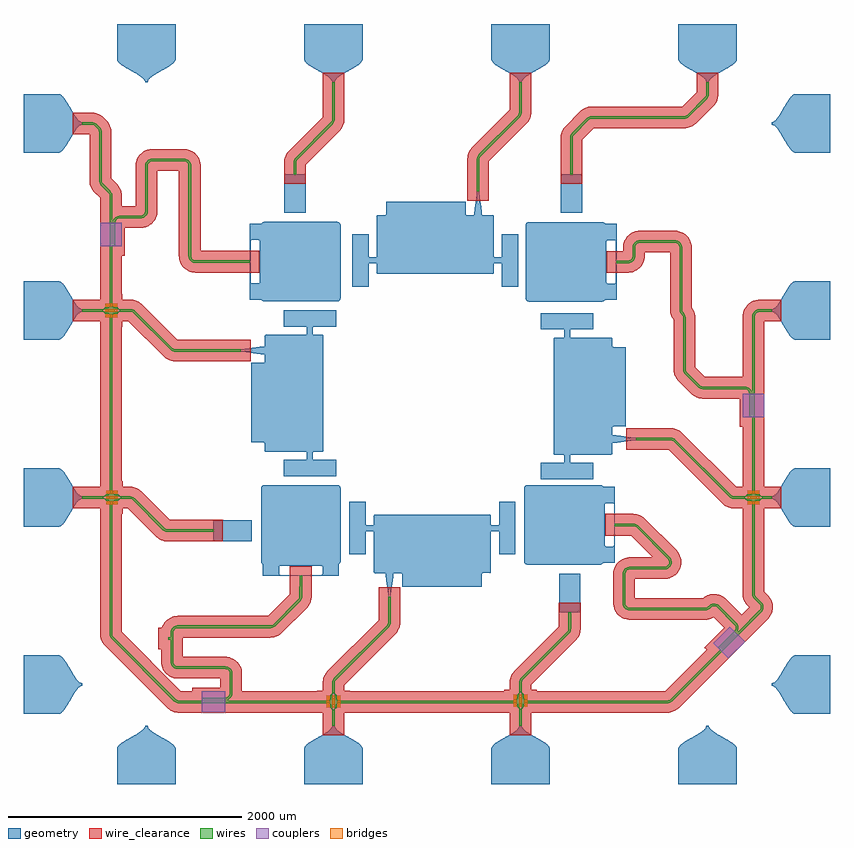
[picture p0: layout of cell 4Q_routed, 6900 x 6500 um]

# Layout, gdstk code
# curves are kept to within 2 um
import gdstk
lib = gdstk.Library(unit=1e-6, precision=1e-09)
def R(c, l, rs):  # rectangles x0, y0, x1, y1
    for r in rs: c.add(gdstk.rectangle(r[:2], r[2:], *l))
def A(c, l, x, y, w, h, nx, ny, dx, dy):  # array of equal rectangles
    R(c, l, [(x+i*dx, y+j*dy, x+i*dx+w, y+j*dy+h) for i in range(nx) for j in range(ny)])
def P(c, l, *ps):  # polygons
    for p in ps: c.add(gdstk.Polygon(p, *l))
geometry = (1, 0)
wires = (2, 0)
couplers = (3, 0)
bridges = (4, 0)
wire_clearance = (5, 0)

c_4q_routed = lib.new_cell('4Q_routed')
R(c_4q_routed, geometry, [(4981.21,-209.86,5163.21,120.14), (2022.21,399.14,2352.21,581.14), (4995.28,3209.22,5177.28,3539.22), (2631.21,3210.14,2813.21,3540.14)])
P(c_4q_routed, geometry, [(2460.736,2450.14),(2442.039,2457.885),(2435.058,2467.298),(2432.211,2478.656),(2432.211,2466.14),(2336.21,2466.14),(2336.21,2785.14),(2342.21,2785.14),(2343.159,2609.859),(2351.719,2604.14),(2412.701,2604.14),(2418.934,2606.722),(2422.21,2613.649),(2422.114,2967.609),(2418.934,2973.558),(2412.701,2976.14),(2351.719,2976.14),(2343.159,2970.421),(2342.21,2795.14),(2336.21,2795.14),(2336.21,3114.14),(2432.211,3114.14),(2432.211,3101.624),(2435.058,3112.982),(2442.039,3122.395),(2460.736,3130.14),(3083.684,3130.14),(3102.381,3122.395),(3109.362,3112.982),(3112.21,3101.614),(3112.21,2478.666),(3104.465,2459.969),(3095.052,2452.988),(3083.684,2450.14)],
  [(2448.21,104.14),(2448.21,200.141),(2460.726,200.141),(2449.368,202.988),(2439.955,209.969),(2432.21,228.666),(2432.21,851.614),(2439.955,870.311),(2449.368,877.292),(2460.736,880.14),(3083.684,880.14),(3102.381,872.395),(3109.362,862.982),(3112.21,851.614),(3112.21,228.666),(3104.465,209.969),(3095.052,202.988),(3083.694,200.141),(3096.21,200.141),(3096.21,104.14),(2777.21,104.14),(2777.21,110.14),(2952.491,111.089),(2958.21,119.649),(2958.21,180.631),(2955.628,186.864),(2948.701,190.14),(2594.741,190.044),(2588.792,186.864),(2586.21,180.631),(2586.21,119.649),(2591.929,111.089),(2767.21,110.14),(2767.21,104.14)],
  [(2624.73,954.39),(2624.73,1094.39),(2824.73,1094.39),(2824.73,1164.39),(2473.261,1164.486),(2464.826,1172.921),(2464.73,1234.881),(2459.877,1242.978),(2348.73,1244.39),(2348.73,1924.39),(2460.694,1926.348),(2464.73,1933.899),(2464.73,2006.39),(2460.73,2006.39),(2460.73,1999.39),(2434.923,2000.349),(2305.891,2017.662),(2260.73,2020.39),(2260.73,2026.39),(2434.73,2029.252),(2434.73,2033.528),(2260.73,2036.39),(2260.73,2042.39),(2305.891,2045.118),(2434.923,2062.431),(2460.73,2063.39),(2460.73,2056.39),(2464.73,2056.39),(2464.73,2154.881),(2472.297,2164.102),(2824.73,2164.39),(2824.73,2234.39),(2624.73,2234.39),(2624.73,2374.39),(3074.73,2374.39),(3074.73,2234.39),(2874.73,2234.39),(2874.73,2164.39),(2956.199,2164.294),(2962.148,2161.114),(2964.73,2154.881),(2964.73,1173.899),(2962.148,1167.666),(2956.199,1164.486),(2874.73,1164.39),(2874.73,1094.39),(3074.73,1094.39),(3074.73,954.39)],
  [(4710.736,200.14),(4692.039,207.885),(4685.058,217.298),(4682.21,228.666),(4682.21,851.614),(4685.058,862.982),(4692.039,872.395),(4710.736,880.14),(5333.684,880.14),(5352.381,872.395),(5359.362,862.982),(5362.209,851.624),(5362.209,864.14),(5458.21,864.14),(5458.21,545.14),(5452.21,545.14),(5451.261,720.421),(5442.701,726.14),(5381.719,726.14),(5375.486,723.558),(5372.21,716.631),(5372.306,362.671),(5375.486,356.722),(5381.719,354.14),(5442.701,354.14),(5451.261,359.859),(5452.21,535.14),(5458.21,535.14),(5458.21,216.14),(5362.209,216.14),(5362.209,228.656),(5359.362,217.298),(5352.381,207.885),(5333.684,200.14)],
  [(3211.53,2577.07),(3211.53,3027.07),(3351.53,3027.07),(3351.53,2827.07),(3421.53,2827.07),(3421.626,3178.539),(3430.061,3186.974),(3492.021,3187.07),(3500.118,3191.923),(3501.53,3303.07),(4181.53,3303.07),(4183.488,3191.106),(4191.039,3187.07),(4263.53,3187.07),(4263.53,3191.07),(4256.53,3191.07),(4257.489,3216.877),(4274.802,3345.909),(4277.53,3391.07),(4283.53,3391.07),(4286.392,3217.07),(4290.668,3217.07),(4293.53,3391.07),(4299.53,3391.07),(4302.258,3345.909),(4319.571,3216.877),(4320.53,3191.07),(4313.53,3191.07),(4313.53,3187.07),(4412.021,3187.07),(4421.242,3179.503),(4421.53,2827.07),(4491.53,2827.07),(4491.53,3027.07),(4631.53,3027.07),(4631.53,2577.07),(4491.53,2577.07),(4491.53,2777.07),(4421.53,2777.07),(4421.434,2695.601),(4418.254,2689.652),(4412.021,2687.07),(3431.039,2687.07),(3424.806,2689.652),(3421.626,2695.601),(3421.53,2777.07),(3351.53,2777.07),(3351.53,2577.07)],
  [(4825.24,930.7),(4825.24,1070.7),(5025.24,1070.7),(5025.24,1140.7),(4943.771,1140.796),(4937.822,1143.976),(4935.24,1150.209),(4935.24,2131.191),(4937.822,2137.424),(4943.771,2140.604),(5025.24,2140.7),(5025.24,2210.7),(4825.24,2210.7),(4825.24,2350.7),(5275.24,2350.7),(5275.24,2210.7),(5075.24,2210.7),(5075.24,2140.7),(5426.709,2140.604),(5435.144,2132.169),(5435.24,2070.209),(5440.093,2062.112),(5551.24,2060.7),(5551.24,1380.7),(5439.276,1378.742),(5435.24,1371.191),(5435.24,1298.7),(5439.24,1298.7),(5439.24,1305.7),(5465.047,1304.741),(5594.079,1287.428),(5639.24,1284.7),(5639.24,1278.7),(5465.24,1275.838),(5465.24,1271.562),(5639.24,1268.7),(5639.24,1262.7),(5594.079,1259.972),(5465.047,1242.659),(5439.24,1241.7),(5439.24,1248.7),(5435.24,1248.7),(5435.24,1150.209),(5427.673,1140.988),(5075.24,1140.7),(5075.24,1070.7),(5275.24,1070.7),(5275.24,930.7)],
  [(3519.83,-77.02),(3517.102,-31.859),(3499.789,97.173),(3498.83,122.98),(3505.83,122.98),(3505.83,126.98),(3407.339,126.98),(3398.118,134.547),(3397.83,486.98),(3327.83,486.98),(3327.83,286.98),(3187.83,286.98),(3187.83,736.98),(3327.83,736.98),(3327.83,536.98),(3397.83,536.98),(3397.926,618.449),(3401.106,624.398),(3407.339,626.98),(4388.321,626.98),(4394.554,624.398),(4397.734,618.449),(4397.83,536.98),(4467.83,536.98),(4467.83,736.98),(4607.83,736.98),(4607.83,286.98),(4467.83,286.98),(4467.83,486.98),(4397.83,486.98),(4397.734,135.511),(4389.299,127.076),(4327.339,126.98),(4319.242,122.127),(4317.83,10.98),(3637.83,10.98),(3635.872,122.944),(3628.321,126.98),(3555.83,126.98),(3555.83,122.98),(3562.83,122.98),(3561.871,97.173),(3544.558,-31.859),(3541.83,-77.02),(3535.83,-77.02),(3532.968,96.98),(3528.692,96.98),(3525.83,-77.02)],
  [(1440.54,4323.29),(1434.258,4342.645),(1409.485,4368.451),(1371.618,4394.258),(1250.277,4465.225),(1218.187,4491.032),(1204.396,4510.387),(1201.54,4523.29),(1201.54,4823.29),(1701.54,4823.29),(1701.54,4523.29),(1698.684,4510.387),(1684.893,4491.032),(1652.803,4465.225),(1531.462,4394.258),(1493.595,4368.451),(1468.822,4342.645),(1462.54,4323.29)],
  [(1201.54,-1676.71),(1201.54,-1376.71),(1204.396,-1363.807),(1218.187,-1344.452),(1250.277,-1318.645),(1371.618,-1247.678),(1409.485,-1221.871),(1434.258,-1196.065),(1440.54,-1176.71),(1462.54,-1176.71),(1468.822,-1196.065),(1493.595,-1221.871),(1531.462,-1247.678),(1652.803,-1318.645),(1678.146,-1338),(1695.258,-1357.355),(1701.54,-1376.71),(1701.54,-1676.71)],
  [(3040.54,4323.29),(3034.258,4342.645),(3009.485,4368.451),(2971.618,4394.258),(2850.277,4465.225),(2818.187,4491.032),(2804.396,4510.387),(2801.54,4523.29),(2801.54,4823.29),(3301.54,4823.29),(3301.54,4523.29),(3298.684,4510.387),(3284.893,4491.032),(3252.803,4465.225),(3131.462,4394.258),(3093.595,4368.451),(3068.822,4342.645),(3062.54,4323.29)],
  [(2801.54,-1676.71),(2801.54,-1376.71),(2804.396,-1363.807),(2818.187,-1344.452),(2850.277,-1318.645),(2971.618,-1247.678),(3009.485,-1221.871),(3034.258,-1196.065),(3040.54,-1176.71),(3062.54,-1176.71),(3068.822,-1196.065),(3093.595,-1221.871),(3131.462,-1247.678),(3252.803,-1318.645),(3278.146,-1338),(3295.258,-1357.355),(3301.54,-1376.71),(3301.54,-1676.71)],
  [(4640.54,4323.29),(4634.258,4342.645),(4609.485,4368.451),(4571.618,4394.258),(4450.277,4465.225),(4418.187,4491.032),(4404.396,4510.387),(4401.54,4523.29),(4401.54,4823.29),(4901.54,4823.29),(4901.54,4523.29),(4898.684,4510.387),(4884.893,4491.032),(4852.803,4465.225),(4731.462,4394.258),(4693.595,4368.451),(4668.822,4342.645),(4662.54,4323.29)],
  [(4401.54,-1676.71),(4401.54,-1376.71),(4404.396,-1363.807),(4418.187,-1344.452),(4450.277,-1318.645),(4571.618,-1247.678),(4609.485,-1221.871),(4634.258,-1196.065),(4640.54,-1176.71),(4662.54,-1176.71),(4668.822,-1196.065),(4693.595,-1221.871),(4731.462,-1247.678),(4852.803,-1318.645),(4878.146,-1338),(4895.258,-1357.355),(4901.54,-1376.71),(4901.54,-1676.71)],
  [(6240.54,4323.29),(6234.258,4342.645),(6209.485,4368.451),(6171.618,4394.258),(6050.277,4465.225),(6018.187,4491.032),(6004.396,4510.387),(6001.54,4523.29),(6001.54,4823.29),(6501.54,4823.29),(6501.54,4523.29),(6498.684,4510.387),(6484.893,4491.032),(6452.803,4465.225),(6331.462,4394.258),(6293.595,4368.451),(6268.822,4342.645),(6262.54,4323.29)],
  [(6001.54,-1676.71),(6001.54,-1376.71),(6004.396,-1363.807),(6018.187,-1344.452),(6050.277,-1318.645),(6171.618,-1247.678),(6209.485,-1221.871),(6234.258,-1196.065),(6240.54,-1176.71),(6262.54,-1176.71),(6268.822,-1196.065),(6293.595,-1221.871),(6331.462,-1247.678),(6452.803,-1318.645),(6478.146,-1338),(6495.258,-1357.355),(6501.54,-1376.71),(6501.54,-1676.71)],
  [(401.54,3723.29),(401.54,4223.29),(701.54,4223.29),(720.895,4217.008),(740.25,4199.896),(759.605,4174.553),(830.572,4053.212),(856.379,4015.345),(882.185,3990.572),(901.54,3984.29),(901.54,3962.29),(882.185,3956.008),(856.379,3931.235),(830.572,3893.368),(759.605,3772.027),(733.798,3739.937),(714.443,3726.146),(701.54,3723.29)],
  [(7001.54,3723.29),(6982.185,3729.572),(6956.379,3754.345),(6930.572,3792.212),(6853.153,3922.755),(6827.346,3951.379),(6814.443,3959.434),(6801.54,3962.29),(6801.54,3984.29),(6820.895,3990.572),(6846.701,4015.345),(6872.508,4053.212),(6943.475,4174.553),(6969.282,4206.643),(6988.637,4220.434),(7001.54,4223.29),(7301.54,4223.29),(7301.54,3723.29)],
  [(401.54,2123.29),(401.54,2623.29),(701.54,2623.29),(720.895,2617.008),(740.25,2599.896),(759.605,2574.553),(830.572,2453.212),(856.379,2415.345),(882.185,2390.572),(901.54,2384.29),(901.54,2362.29),(882.185,2356.008),(856.379,2331.235),(830.572,2293.368),(759.605,2172.027),(733.798,2139.937),(714.443,2126.146),(701.54,2123.29)],
  [(7001.54,2123.29),(6982.185,2129.572),(6956.379,2154.345),(6930.572,2192.212),(6853.153,2322.755),(6827.346,2351.379),(6814.443,2359.434),(6801.54,2362.29),(6801.54,2384.29),(6820.895,2390.572),(6846.701,2415.345),(6872.508,2453.212),(6943.475,2574.553),(6969.282,2606.643),(6988.637,2620.434),(7001.54,2623.29),(7301.54,2623.29),(7301.54,2123.29)],
  [(401.54,523.29),(401.54,1023.29),(701.54,1023.29),(720.895,1017.008),(740.25,999.896),(759.605,974.553),(830.572,853.212),(856.379,815.345),(882.185,790.572),(901.54,784.29),(901.54,762.29),(882.185,756.008),(856.379,731.235),(830.572,693.368),(759.605,572.027),(733.798,539.937),(714.443,526.146),(701.54,523.29)],
  [(7001.54,523.29),(6982.185,529.572),(6956.379,554.345),(6930.572,592.212),(6853.153,722.755),(6827.346,751.379),(6814.443,759.434),(6801.54,762.29),(6801.54,784.29),(6820.895,790.572),(6846.701,815.345),(6872.508,853.212),(6943.475,974.553),(6969.282,1006.643),(6988.637,1020.434),(7001.54,1023.29),(7301.54,1023.29),(7301.54,523.29)],
  [(401.54,-1076.71),(401.54,-576.71),(701.54,-576.71),(720.895,-582.992),(740.25,-600.104),(759.605,-625.447),(830.572,-746.788),(856.379,-784.655),(882.185,-809.428),(901.54,-815.71),(901.54,-837.71),(882.185,-843.992),(856.379,-868.765),(830.572,-906.632),(759.605,-1027.973),(733.798,-1060.063),(714.443,-1073.854),(701.54,-1076.71)],
  [(7001.54,-1076.71),(6982.185,-1070.428),(6956.379,-1045.655),(6930.572,-1007.788),(6853.153,-877.245),(6827.346,-848.621),(6814.443,-840.566),(6801.54,-837.71),(6801.54,-815.71),(6820.895,-809.428),(6846.701,-784.655),(6872.508,-746.788),(6943.475,-625.447),(6969.282,-593.357),(6988.637,-579.566),(7001.54,-576.71),(7301.54,-576.71),(7301.54,-1076.71)],
  [(4724.806,2449.22),(4706.109,2456.965),(4699.128,2466.378),(4696.28,2477.746),(4696.28,3100.694),(4699.128,3112.062),(4706.109,3121.475),(4724.806,3129.22),(5347.754,3129.22),(5366.451,3121.475),(5373.432,3112.062),(5376.279,3100.704),(5376.279,3113.22),(5472.28,3113.22),(5472.28,2794.22),(5466.28,2794.22),(5465.331,2969.501),(5456.771,2975.22),(5395.789,2975.22),(5389.556,2972.638),(5386.28,2965.711),(5386.376,2611.751),(5389.556,2605.802),(5395.789,2603.22),(5456.771,2603.22),(5465.331,2608.939),(5466.28,2784.22),(5472.28,2784.22),(5472.28,2465.22),(5376.279,2465.22),(5376.279,2477.736),(5373.432,2466.378),(5366.451,2456.965),(5347.754,2449.22)])
P(c_4q_routed, wires, [(3040.54,-1176.71),(3040.54,-1041.307),(3025.187,-1023.017),(3025.157,-998.373),(3039.54,-998.373),(3039.626,-1023.672),(3047.852,-1044.225),(3055.228,-1044.225),(3063.053,-1025.593),(3063.54,-998.373),(3025.157,-998.373),(3025.14,-984.922),(1726.938,-984.882),(1710.601,-982.036),(1687.58,-968.573),(1154.292,-435.294),(1142.91,-418.001),(1137.963,-397.839),(1137.816,746.89),(1104.914,747.075),(1087.273,762.29),(901.54,762.29),(901.54,784.29),(1130.207,785.29),(1105.561,785.268),(1084.355,776.978),(1084.355,769.602),(1103.624,761.61),(1130.207,761.29),(1130.207,785.29),(1186.207,785.29),(1186.207,761.29),(1213.427,761.777),(1232.059,769.602),(1232.059,776.978),(1212.14,785.106),(1088.632,785.29),(1103.627,798.988),(1137.816,799.69),(1137.816,2346.89),(1097.282,2347.294),(1080.282,2362.29),(901.54,2362.29),(901.54,2384.29),(1123.216,2385.29),(1098.57,2385.268),(1077.364,2376.978),(1077.364,2369.602),(1096.633,2361.61),(1123.216,2361.29),(1123.216,2385.29),(1179.216,2385.29),(1179.216,2361.29),(1206.436,2361.777),(1225.068,2369.602),(1225.068,2376.978),(1205.149,2385.106),(1082.143,2385.29),(1097.282,2399.286),(1137.816,2399.69),(1137.611,3357.607),(1132.816,3372.724),(1126.376,3381.216),(1061.714,3446.074),(1047.918,3473.852),(1046.562,3901.551),(1042.277,3916.845),(1008.871,3952.701),(995.057,3960.46),(901.54,3962.29),(901.54,3984.29),(987.318,3984.156),(1005.585,3980.059),(1021.839,3970.542),(1053.703,3938.902),(1065.1,3919.413),(1068.501,3903.207),(1068.654,3486.256),(1070.106,3475.67),(1077.407,3461.588),(1141.979,3396.726),(1157.515,3370.219),(1159.816,3148.277),(1168.155,3146.12),(1179.446,3163.308),(1196.054,3176.326),(1220.675,3183.391),(1406.499,3183.75),(1417.022,3186.378),(1433.938,3199.59),(1441.304,3219.798),(1441.544,3615.321),(1446.72,3636.08),(1460.106,3655.124),(1479.458,3667.689),(1502.253,3672.169),(1776.855,3672.026),(1793.436,3668.525),(1819.292,3650.503),(1830.025,3631.932),(1833.32,3617.673),(1833.872,2836.155),(1838.67,2821.034),(1853.576,2806.134),(1868.687,2801.346),(2336.21,2801.14),(2336.21,2779.14),(1866.547,2779.448),(1837.445,2790.336),(1819.467,2810.296),(1811.7,2838.17),(1811.642,3612.517),(1807.721,3628.263),(1801.658,3637.254),(1783.407,3648.66),(1498.316,3649.953),(1482.92,3644.953),(1474.366,3638.277),(1467.984,3629.507),(1463.5,3613.898),(1463.401,3222.378),(1461.615,3207.875),(1453.05,3188.535),(1438.214,3173.151),(1410.759,3162.108),(1218.037,3160.938),(1198.728,3151.52),(1187.323,3133.264),(1185.816,2922.532),(1159.816,2922.532),(1159.816,2429.69),(1162.216,2429.69),(1162.216,2399.69),(1203.215,2399.69),(1222.15,2384.29),(1319.307,2384.155),(1331.64,2382.043),(1350.457,2373.094),(1672.924,2051.997),(1686.778,2044.213),(2260.73,2042.39),(2260.73,2020.39),(1688.129,2021.288),(1676.277,2024.603),(1658.424,2035.45),(1335.516,2356.6),(1315.185,2362.29),(1222.15,2362.29),(1205.15,2347.294),(1162.216,2346.89),(1162.216,2316.89),(1159.816,2316.89),(1159.816,829.69),(1169.207,829.69),(1169.207,799.69),(1210.206,799.69),(1229.141,784.29),(1313.984,784.155),(1326.435,782.01),(1345.134,773.094),(1609.875,509.885),(1618.958,504.366),(1629.16,501.507),(2022.21,501.14),(2022.21,479.14),(1632.545,479.171),(1618.097,481.382),(1592.883,495.524),(1329.022,757.286),(1313.878,762.086),(1229.141,762.29),(1210.206,746.89),(1169.207,746.89),(1169.207,716.89),(1159.816,716.89),(1161.261,-404.109),(1168.587,-418.236),(1701.545,-951.48),(1719.913,-961.813),(1926.54,-962.922),(1926.54,-936.922),(2126.517,-936.922),(2147.214,-930.989),(2161.595,-915.008),(2165.514,-899.279),(2165.442,-729.282),(2158.089,-709.089),(2141.157,-695.858),(2130.611,-693.228),(1718.283,-692.973),(1701.749,-690.057),(1682.837,-679.993),(1668.802,-664.383),(1660.117,-640.626),(1659.505,-441.71),(1636.54,-441.71),(1636.54,-421.71),(1659.505,-421.71),(1661.328,-367.121),(1675.245,-341.028),(1692.01,-327.988),(1716.359,-321.064),(2515.453,-320.719),(2525.79,-318.204),(2535.036,-313.009),(2752.451,-95.824),(2757.994,-86.706),(2760.844,-76.513),(2761.21,104.14),(2783.21,104.14),(2783.179,-73.138),(2775.462,-100.954),(2766.875,-112.746),(2553.049,-326.574),(2535.892,-337.829),(2513.456,-342.891),(1715.072,-343.306),(1704.638,-346.299),(1688.184,-360.101),(1681.531,-380.576),(1681.603,-634.732),(1686.067,-650.312),(1701.017,-665.793),(1716.415,-670.796),(2126.643,-671.013),(2149.534,-675.513),(2167.477,-686.79),(2175.837,-696.085),(2185.16,-715.14),(2187.506,-729.99),(2187.399,-902.063),(2178.329,-930.153),(2165.631,-944.75),(2150.129,-954.582),(2152.285,-962.922),(2995.14,-962.922),(2995.14,-959.373),(3025.14,-959.373),(3025.14,-918.374),(3040.545,-896.521),(3047.852,-896.521),(3039.724,-916.44),(3039.54,-942.373),(3063.54,-942.373),(3063.454,-917.074),(3055.228,-896.521),(3040.545,-896.521),(3040.687,-810.054),(3049.489,-782.5),(3511.896,-317.17),(3517.107,-307.906),(3519.626,-297.561),(3519.83,-77.02),(3541.83,-77.02),(3541.798,-295.563),(3534.035,-323.431),(3525.472,-335.166),(3068.225,-794.034),(3062.54,-814.357),(3062.54,-899.439),(3077.536,-916.439),(3077.94,-959.373),(3107.94,-959.373),(3107.94,-962.922),(4595.14,-962.922),(4595.14,-953.233),(4625.14,-953.233),(4625.14,-912.234),(4640.545,-890.381),(4647.852,-890.381),(4639.724,-910.3),(4639.54,-936.233),(4663.54,-936.233),(4663.454,-910.934),(4655.228,-890.381),(4640.545,-890.381),(4640.687,-805.365),(4644.759,-787.325),(4654.288,-771.038),(5053.291,-371.08),(5061.004,-351.512),(5061.21,-209.86),(5083.21,-209.86),(5083.178,-349.494),(5075.357,-377.467),(4670.462,-786.059),(4662.744,-805.642),(4662.54,-893.299),(4677.94,-912.234),(4677.94,-953.233),(4707.94,-953.233),(4707.94,-962.922),(5912.768,-962.556),(5932.073,-954.169),(6357.794,-528.738),(6339.41,-510.353),(6481.764,-367.963),(6490.13,-354.048),(6491.26,-332.617),(6480.727,-313.673),(6332.127,-165.211),(6317.938,-157.349),(6296.444,-156.981),(6282.025,-164.323),(6261.806,-181.812),(6244.386,-189.027),(6230.133,-190.74),(5580.604,-190.416),(5562.154,-185.503),(5544.44,-173.553),(5531.122,-154.471),(5526.206,-135.99),(5525.885,119.984),(5530.346,142.782),(5540.26,159.214),(5558.147,173.688),(5580.378,180.532),(5887.37,181.097),(5902.784,186.107),(5911.326,192.778),(5921.429,211.759),(5922.26,223.938),(5920.463,234.377),(5912.692,248.215),(5634.837,524.146),(5619.712,528.936),(5458.21,529.14),(5458.21,551.14),(5615.846,551.14),(5628.024,549.891),(5647.328,542.328),(5927.927,264.172),(5939.173,247.043),(5944.245,224.805),(5943.673,211.259),(5936.08,189.325),(5920.747,171.739),(5899.978,161.209),(5885.514,158.922),(5581.445,158.498),(5561.826,149.762),(5554.537,141.663),(5547.911,121.237),(5547.983,-132.469),(5552.455,-148.056),(5558.844,-156.843),(5567.386,-163.514),(5582.822,-168.526),(6229.982,-168.74),(6250.304,-163.057),(6278.946,-140.249),(6303.258,-133.736),(6318.066,-134.745),(6332.24,-139.322),(6349.58,-151.414),(6499.371,-301.428),(6512.211,-325.702),(6513.819,-348.628),(6509.998,-364.742),(6517.419,-369.114),(6694.603,-191.929),(6704.64,-174.805),(6706.084,-164.293),(6704.643,-153.796),(6697.33,-139.675),(6642.424,-82.644),(6632.624,-53.345),(6632.488,746.89),(6591.489,746.89),(6572.554,762.29),(6476.847,762.291),(6462.661,764.003),(6443.683,772.202),(5959.806,1253.941),(5950.688,1259.484),(5940.495,1262.334),(5639.24,1262.7),(5639.24,1284.7),(5937.12,1284.669),(5959.379,1279.696),(5976.852,1268.251),(6452.391,793.049),(6471.702,784.656),(6615.488,785.29),(6590.842,785.268),(6569.636,776.978),(6569.636,769.602),(6588.905,761.61),(6615.488,761.29),(6615.488,785.29),(6671.488,785.29),(6671.488,761.29),(6698.708,761.777),(6717.34,769.602),(6717.34,776.978),(6697.421,785.106),(6574.162,785.29),(6589.554,799.286),(6632.488,799.69),(6632.488,1461.926),(6606.488,1461.926),(6606.276,1665.965),(6598.218,1685.939),(6590.396,1693.489),(6570.232,1700.827),(6209.025,1700.967),(6194.915,1703.149),(6171.065,1716.016),(6058.173,1828.761),(6043.9,1854.11),(6041.689,1868.53),(6041.633,2312.059),(6037.872,2327.501),(6018.487,2354.173),(6012.021,2375.974),(6011.686,2913.276),(6005.032,2933.751),(5997.762,2941.815),(5978.149,2950.544),(5667.074,2950.711),(5656.541,2948.084),(5639.612,2934.863),(5634.495,2925.237),(5631.242,2828.72),(5623.947,2808.664),(5610.317,2792.453),(5591.886,2781.853),(5579.547,2778.8),(5472.28,2778.22),(5472.28,2800.22),(5573.88,2800.318),(5589.453,2804.782),(5598.246,2811.17),(5604.915,2819.703),(5609.936,2835.143),(5612.538,2928.818),(5617.345,2940.662),(5630.227,2957.161),(5654.193,2970.521),(5671.003,2972.926),(5977.107,2972.767),(5997.584,2967.625),(6022.005,2947.86),(6031.366,2928.681),(6033.57,2916.068),(6033.921,2378.099),(6041.64,2358.545),(6057.81,2336.804),(6063.625,2312.684),(6064.475,1862.553),(6074.156,1843.879),(6185.614,1732.521),(6199.441,1724.752),(6571.878,1722.768),(6601.672,1712.448),(6611.308,1704.363),(6624.148,1685.515),(6632.488,1687.671),(6632.489,2320.063),(6635.376,2338.44),(6640.353,2349.858),(6655.282,2367.906),(6680.481,2382.044),(6801.54,2384.29),(6801.54,2362.29),(6692.915,2362.086),(6682.586,2359.574),(6663.218,2344.485),(6654.85,2325.193),(6654.488,799.69),(6695.487,799.69),(6714.422,784.29),(6801.54,784.29),(6801.54,762.29),(6714.422,762.29),(6696.781,747.075),(6654.488,746.89),(6654.58,-51.925),(6661.638,-71.778),(6711.603,-122.589),(6721.27,-136.274),(6727.752,-157.931),(6725.854,-180.636),(6710.318,-207.326),(5947.653,-969.804),(5926.051,-982.018),(5909.393,-984.891),(4677.94,-984.922),(4677.755,-1017.526),(4662.54,-1035.167),(4662.54,-1176.71),(4640.54,-1176.71),(4640.54,-1035.167),(4625.842,-1018.813),(4625.14,-992.233),(4639.54,-992.233),(4639.626,-1017.532),(4647.852,-1038.085),(4655.228,-1038.085),(4663.053,-1019.453),(4663.54,-992.233),(4625.14,-992.233),(4625.14,-984.922),(3077.94,-984.922),(3077.536,-1024.307),(3062.54,-1041.307),(3062.54,-1176.71)],
  [(2711.21,3540.14),(2711.25,3640.465),(2713.452,3654.646),(2721.268,3671.815),(3035.539,3989.908),(3040.336,4005.045),(3040.54,4323.29),(3062.54,4323.29),(3062.232,4002.891),(3055.728,3980.999),(3046.058,3967.308),(2742.815,3663.888),(2736.985,3654.997),(2733.235,3639.599),(2733.21,3540.14)],
  [(4277.53,3391.07),(4277.57,3667.945),(4283.482,3692.02),(4294.012,3707.442),(4633.412,4047.698),(4640.446,4067.483),(4640.54,4323.29),(4662.54,4323.29),(4662.5,4067.965),(4659.052,4049.84),(4648.918,4031.748),(4309.13,3691.362),(4303.305,3682.475),(4299.555,3667.079),(4299.53,3391.07)],
  [(5075.28,3539.22),(5075.32,3851.105),(5077.522,3865.286),(5091.664,3890.5),(5230.249,4026.656),(5255.522,4035.161),(6062.558,4036.939),(6076.664,4044.255),(6235.539,4204.893),(6240.336,4220.022),(6240.54,4323.29),(6262.54,4323.29),(6262.54,4223.896),(6261.244,4211.492),(6253.628,4192.25),(6092.083,4028.48),(6072.569,4017.053),(6054.005,4013.525),(5260.555,4013.469),(5245.122,4009.71),(5236.236,4003.881),(5105.199,3872.455),(5099.991,3863.183),(5097.486,3852.881),(5097.28,3539.22)])
R(c_4q_routed, couplers, [(1926.54,-1064.922,2126.54,-882.922), (6552.488,1461.926,6734.488,1661.926), (1057.816,2922.532,1239.816,3122.532)])
P(c_4q_routed, couplers, [(6429.919,-600.863),(6301.226,-472.17),(6442.647,-330.748),(6571.341,-459.442)])
A(c_4q_routed, bridges, 2995.14, -1020.373, 20, 100, 3, 1, 46.4, 0)
A(c_4q_routed, bridges, 4595.14, -1014.233, 20, 100, 3, 1, 46.4, 0)
A(c_4q_routed, bridges, 1108.207, 716.89, 100, 20, 1, 3, 0, 46.4)
A(c_4q_routed, bridges, 6593.488, 716.89, 100, 20, 1, 3, 0, 46.4)
A(c_4q_routed, bridges, 1101.216, 2316.89, 100, 20, 1, 3, 0, 46.4)
P(c_4q_routed, wire_clearance, [(2959.04,-1258.21),(2959.04,-1071.757),(2955.674,-1066.422),(1720.196,-1066.145),(1690.776,-1061.173),(1671.671,-1054.323),(1632.59,-1028.728),(1095.025,-491.244),(1069.807,-454.126),(1061.668,-432.305),(1056.71,-404.203),(1056.316,680.79),(820.04,680.79),(820.04,865.79),(1056.316,865.79),(1056.316,2276.763),(1049.832,2280.79),(820.04,2280.79),(820.04,2465.79),(1049.832,2465.79),(1056.316,2469.817),(1056.316,3336.018),(1003.457,3388.997),(988.981,3407.318),(973.112,3439.241),(966.618,3465.831),(965.154,3880.79),(820.04,3880.79),(820.04,4065.79),(987.942,4065.713),(1021.625,4060.541),(1043.789,4052.299),(1072.336,4034.52),(1112.459,3995.448),(1133.456,3965.821),(1144.749,3937.8),(1150.142,3900.407),(1150.154,3503.809),(1212.588,3439.424),(1230.83,3407.261),(1240.469,3369.135),(1241.316,3265.032),(1359.902,3265.032),(1359.958,3615.167),(1362.094,3636.066),(1368.801,3660.735),(1381.944,3687.315),(1409.897,3719.562),(1445.377,3741.767),(1468.761,3749.645),(1496.787,3753.564),(1781.119,3753.415),(1820.462,3745.415),(1855.329,3727.253),(1874.651,3710.7),(1889.935,3692.121),(1908.499,3654.25),(1914.879,3620.249),(1915.167,2882.64),(2417.71,2882.64),(2417.71,2697.64),(1868.071,2697.714),(1838.084,2701.899),(1815.125,2709.776),(1776.081,2735.366),(1751.623,2764.935),(1740.653,2786.5),(1733.472,2809.65),(1730.167,2839.154),(1730.167,3568.67),(1544.902,3568.67),(1544.842,3218.278),(1542.58,3194.491),(1525.296,3150.399),(1502.024,3120.64),(1466.262,3095.148),(1426.282,3082.047),(1267.316,3080.033),(1267.316,2841.032),(1241.316,2841.032),(1241.316,2511.19),(1243.716,2511.19),(1243.716,2471.196),(1252.6,2465.79),(1338.924,2463.814),(1364.595,2456.962),(1396.798,2440.144),(1413.547,2426.439),(1716.16,2123.89),(2342.23,2123.89),(2342.23,1938.89),(1679.915,1940.111),(1651.689,1946.815),(1625.232,1958.202),(1598.586,1979.835),(1297.631,2280.79),(1252.6,2280.79),(1243.716,2275.384),(1243.716,2235.39),(1241.316,2235.39),(1241.316,911.19),(1250.707,911.19),(1250.707,871.196),(1259.591,865.79),(1311.631,865.774),(1344.495,861.531),(1367.454,853.654),(1396.867,836.181),(1652.087,582.64),(2103.71,582.64),(2103.71,397.64),(1625.614,397.914),(1580.28,408.361),(1551.615,424.21),(1534.972,438.148),(1292.307,680.79),(1259.591,680.79),(1250.707,675.384),(1250.707,635.39),(1241.316,635.39),(1241.316,-375.993),(1746.745,-881.422),(1845.04,-881.422),(1845.04,-855.422),(2084.04,-855.422),(2084.04,-774.513),(1714.887,-774.407),(1687.56,-770.656),(1663.569,-762.647),(1638.464,-748.516),(1622.339,-735.363),(1597.485,-703.937),(1581.822,-665.313),(1578.408,-642.745),(1578.006,-523.21),(1555.04,-523.21),(1555.04,-340.21),(1584.255,-340.21),(1599.84,-306.118),(1628.192,-273.358),(1657.799,-253.96),(1701.251,-240.724),(2493.884,-239.423),(2679.71,-53.597),(2679.71,185.64),(2864.71,185.64),(2862.734,-94.886),(2850.541,-133.151),(2825.898,-168.959),(2597.29,-395.695),(2555.29,-417.526),(2512.999,-424.411),(1763.54,-424.423),(1763.005,-589.513),(2137.272,-589.915),(2179.189,-599.593),(2221.194,-625.49),(2251.348,-663.256),(2265.761,-701.603),(2268.982,-727.882),(2269.04,-881.422),(2913.64,-881.422),(2913.64,-877.873),(2953.635,-877.873),(2959.04,-868.989),(2959.421,-803.83),(2962.19,-784.504),(2973.594,-751.5),(2986.025,-730.872),(3438.33,-275.99),(3438.33,4.48),(3623.33,4.48),(3623.318,-295.117),(3616.898,-335.926),(3602.817,-367.258),(3588.669,-386.752),(3144.04,-831.91),(3144.04,-868.989),(3149.446,-877.873),(3189.44,-877.873),(3189.44,-881.422),(4513.64,-881.422),(4513.64,-871.733),(4553.635,-871.733),(4559.04,-862.849),(4559.093,-805.675),(4563.297,-775.038),(4578.352,-736.293),(4587.111,-724.7),(4979.71,-329.922),(4979.71,-128.36),(5164.71,-128.36),(5164.657,-351.467),(5160.95,-380.077),(5147.481,-415.469),(5126.549,-444.582),(4744.04,-827.221),(4744.04,-862.849),(4749.446,-871.733),(4789.44,-871.733),(4789.44,-881.422),(5889.852,-881.422),(6242.545,-528.729),(6224.164,-510.341),(6393.15,-341.355),(6304.04,-252.245),(6264.612,-267.983),(6234.01,-272.186),(5577.802,-271.952),(5532.837,-261.597),(5507.787,-248.277),(5488.733,-233.104),(5468.348,-208.838),(5455.028,-183.788),(5444.787,-140.472),(5444.401,121.603),(5451.598,164.654),(5466.463,196.075),(5481.447,215.744),(5507.893,238.487),(5532.653,251.659),(5561.093,260.027),(5783.402,262.38),(5598.142,447.64),(5376.71,447.64),(5376.71,632.64),(5631.254,631.794),(5658.077,626.208),(5689.409,612.127),(5708.903,597.979),(5990.56,316.4),(6015.31,276.215),(6021.951,255.456),(6025.773,224.108),(6024.531,201.013),(6017.502,172.002),(5995.345,131.489),(5974.155,110.112),(5952.039,95.072),(5926.517,84.098),(5892.398,77.67),(5629.385,77.381),(5629.385,-87.24),(6212.9,-87.24),(6236.767,-70.399),(6263.437,-58.83),(6294.983,-52.616),(6329.796,-54.057),(6362.834,-63.732),(6396.898,-84.451),(6542.349,-228.926),(6606.981,-164.293),(6579.45,-134.729),(6568.899,-118.446),(6557.922,-93.19),(6551.264,-58.175),(6550.988,675.384),(6542.104,680.79),(6472.332,680.867),(6442.435,685.047),(6408.119,698.544),(6380.118,718.795),(5917.579,1181.2),(5557.74,1181.2),(5557.74,1366.2),(5939.698,1366.128),(5969.762,1361.943),(6004.078,1348.446),(6031.734,1328.506),(6494.618,865.79),(6542.104,865.79),(6550.988,871.196),(6550.988,1380.426),(6524.988,1380.426),(6524.988,1619.426),(6207.305,1619.48),(6167.315,1626.36),(6140.997,1637.929),(6118.713,1653.534),(6001.111,1770.526),(5985.795,1788.952),(5973.632,1810.005),(5964.431,1835.859),(5960.17,1868.924),(5960.156,2294.729),(5940.697,2328.472),(5933.516,2351.622),(5930.322,2376.451),(5930.211,2869.427),(5713.652,2869.427),(5710.375,2808.819),(5696.329,2771.109),(5683.804,2751.949),(5665.854,2732.739),(5633.533,2711.099),(5609.649,2702.017),(5576.874,2696.832),(5390.78,2696.72),(5390.78,2881.72),(5528.652,2881.72),(5531.472,2940.112),(5540.363,2968.487),(5556.273,2996.249),(5575.006,3017.104),(5591.582,3030.156),(5612.997,3042.02),(5642.829,3051.58),(5660.348,3054.018),(5990.783,3053.27),(6013.137,3048.579),(6039.044,3038.052),(6068.702,3017.249),(6085.899,2998.51),(6104.523,2966.076),(6112.335,2940.438),(6115.151,2916.173),(6115.31,2398.005),(6137.146,2357.862),(6145.103,2314.663),(6145.156,1888.104),(6228.834,1804.426),(6550.988,1804.426),(6550.997,2321.234),(6556.105,2357.755),(6567.445,2386.374),(6580.267,2406.434),(6606.034,2433.082),(6625.776,2446.778),(6665.109,2462.193),(6692.165,2465.712),(6883.04,2465.79),(6883.04,2280.79),(6735.988,2280.79),(6735.988,871.196),(6744.872,865.79),(6883.04,865.79),(6883.04,680.79),(6744.872,680.79),(6735.988,675.384),(6735.988,-31.671),(6783.635,-82.288),(6799.957,-112.797),(6808.914,-150.44),(6808.738,-179.806),(6804.18,-203.197),(6793.255,-230.529),(6773.376,-259.199),(6005.254,-1027.569),(5971.847,-1051.055),(5950.342,-1059.825),(5908.442,-1066.422),(4744.04,-1066.422),(4744.04,-1258.21),(4559.04,-1258.21),(4559.04,-1066.422),(3147.406,-1066.422),(3144.04,-1071.757),(3144.04,-1258.21)],
  [(2629.71,3458.64),(2629.82,3643.916),(2638.538,3687.621),(2653.537,3717.148),(2667.871,3735.317),(2959.04,4026.616),(2959.04,4404.79),(3144.04,4404.79),(3143.93,4003.356),(3138.967,3971.317),(3127.065,3941.575),(3105.879,3911.955),(2814.71,3620.656),(2814.71,3458.64)],
  [(4196.03,3309.57),(4196.139,3671.374),(4200.815,3702.33),(4210.199,3727.69),(4235.381,3764.051),(4559.04,4087.774),(4559.04,4404.79),(4744.04,4404.79),(4744.024,4068.45),(4740.328,4037.878),(4733.319,4015.967),(4709.286,3976.907),(4381.03,3648.135),(4381.03,3309.57)],
  [(4993.78,3457.72),(4993.89,3854.556),(4998.565,3885.492),(5006.972,3908.771),(5031.941,3945.957),(5171.443,4084.625),(5209.265,4106.93),(5231.888,4113.801),(5257.129,4116.913),(6034.431,4116.992),(6159.04,4241.601),(6159.04,4404.79),(6344.04,4404.79),(6343.195,4208.5),(6340.328,4191.705),(6324.728,4150.673),(6306.313,4127.408),(6138.496,3961.211),(6118.782,3948.587),(6094.436,3938.444),(6056.106,3932.049),(5279.475,3931.992),(5178.78,3831.297),(5178.78,3457.72)])
c_4q_routed.add(gdstk.Label('1/0 geometry', (401.54,-1974.79), layer=1, texttype=0))
c_4q_routed.add(gdstk.Label('2/0 wires', (401.54,-2173.51), layer=2, texttype=0))
c_4q_routed.add(gdstk.Label('3/0 couplers', (401.54,-2372.23), layer=3, texttype=0))
c_4q_routed.add(gdstk.Label('4/0 bridges', (401.54,-2570.95), layer=4, texttype=0))
c_4q_routed.add(gdstk.Label('5/0 wire clearance', (401.54,-2769.67), layer=5, texttype=0))

lib.write_gds('4Q_routed.gds')
